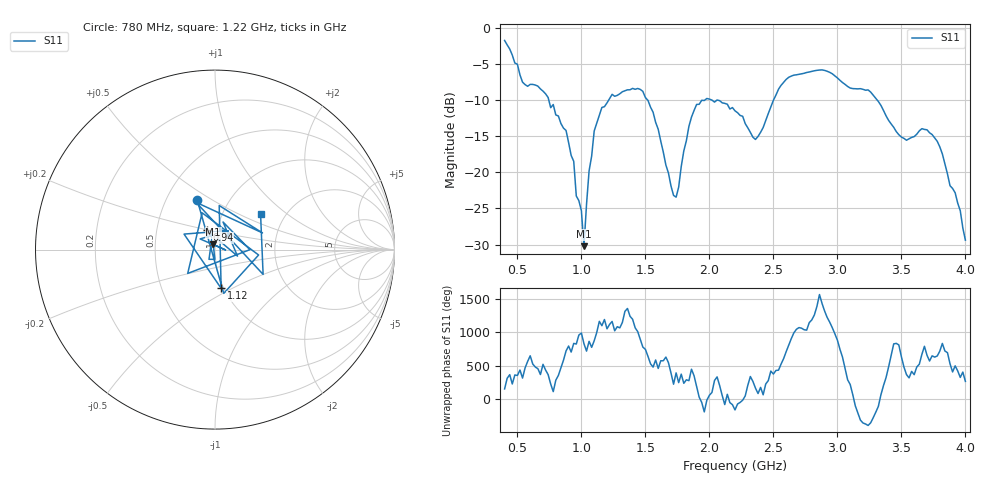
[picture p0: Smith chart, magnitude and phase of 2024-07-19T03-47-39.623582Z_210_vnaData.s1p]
!Created with skrf (http://scikit-rf.org).
# Hz S RI R 50.0
!freq ReS11 ImS11
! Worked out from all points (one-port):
!   181 points, 400 MHz to 4 GHz, reference 50 ohm
!   lowest |S11| = -30.2 dB at 1.02 GHz (marker M1), VSWR 1.06, Z = 48.9 + j2.86 ohm
!   |S11| at or under -10 dB: 744.8 MHz to 1.214 GHz (469.4 MHz wide, 47.9 % of centre); 2.016 GHz to 2.501 GHz (485.7 MHz wide, 21.5 % of centre); 3.309 GHz to end of sweep (the widest 3 of 4)
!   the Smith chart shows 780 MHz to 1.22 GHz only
!   S11 on the Smith chart (normalised r, x): 780 MHz: 0.71, +0.43; 940 MHz: 0.89, +0.20; 1.12 GHz: 0.97, -0.44; 1.22 GHz: 1.50, +0.67
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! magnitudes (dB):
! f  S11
! 400 MHz  -1.8
! 540 MHz  -7.5
! 780 MHz  -10.6
! 860 MHz  -13.9
! 940 MHz  -18.5
! 960 MHz  -23.3
! 1 GHz  -25.3
! 1.02 GHz  -30.2
! 1.06 GHz  -19.8
! 1.12 GHz  -13.2
! 1.22 GHz  -9.8
! 1.3 GHz  -9.2
! 1.48 GHz  -8.8
! 1.6 GHz  -14.1
! 1.72 GHz  -23.2
! 1.76 GHz  -22.1
! 1.84 GHz  -13.6
! 1.9 GHz  -10.6
! 2.2 GHz  -11.5
! 2.36 GHz  -15.5
! 2.54 GHz  -8.5
! 2.66 GHz  -6.6
! 2.9 GHz  -5.9
! 3.1 GHz  -8.4
! 3.26 GHz  -8.9
! 3.56 GHz  -15.4
! 3.78 GHz  -15.7
! 4 GHz  -29.4
